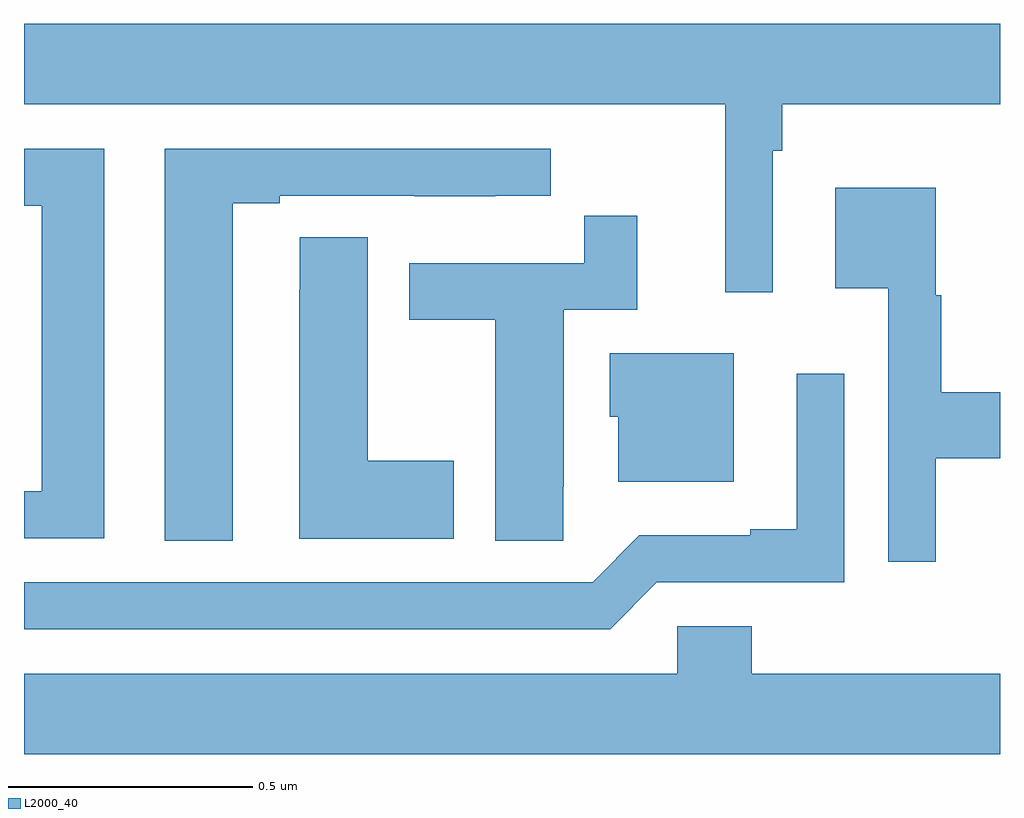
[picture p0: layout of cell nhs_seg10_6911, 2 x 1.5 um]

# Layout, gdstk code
import gdstk
lib = gdstk.Library(unit=1e-6, precision=1e-09)
def P(c, l, *ps):  # polygons
    for p in ps: c.add(gdstk.Polygon(p, *l))
L2000_40 = (2000, 40)

nhs_seg10_6911 = lib.new_cell('nhs_seg10_6911')
P(nhs_seg10_6911, L2000_40, [(198.534,1298.888),(198.554,1298.888),(198.554,1298.984),(199,1298.984),(199,1299.148),(197,1299.148),(197,1298.984),(198.437,1298.984),(198.437,1298.598),(198.534,1298.598)],
  [(197.428,1298.781),(197.524,1298.781),(197.524,1298.796),(197.8,1298.796),(197.8,1298.795),(197.966,1298.795),(197.966,1298.796),(198.079,1298.796),(198.079,1298.892),(197.288,1298.892),(197.288,1298.089),(197.428,1298.089)],
  [(197.164,1298.892),(197,1298.892),(197,1298.776),(197.036,1298.776),(197.036,1298.19),(197,1298.19),(197,1298.094),(197.164,1298.094)],
  [(198.868,1298.258),(199,1298.258),(199,1298.393),(198.88,1298.393),(198.88,1298.592),(198.868,1298.592),(198.868,1298.812),(198.662,1298.812),(198.662,1298.606),(198.771,1298.606),(198.771,1298.046),(198.868,1298.046)],
  [(198.105,1298.2),(198.106,1298.2),(198.106,1298.562),(198.257,1298.562),(198.257,1298.755),(198.148,1298.755),(198.148,1298.658),(197.789,1298.658),(197.789,1298.542),(197.966,1298.542),(197.966,1298.089),(198.105,1298.089)],
  [(197.881,1298.253),(197.704,1298.253),(197.704,1298.711),(197.565,1298.711),(197.565,1298.603),(197.564,1298.603),(197.564,1298.093),(197.881,1298.093)],
  [(198.454,1298.473),(198.2,1298.473),(198.2,1298.343),(198.218,1298.343),(198.218,1298.21),(198.454,1298.21)],
  [(198.297,1298.004),(198.681,1298.004),(198.681,1298.431),(198.584,1298.431),(198.584,1298.113),(198.488,1298.113),(198.488,1298.1),(198.261,1298.1),(198.165,1298.004),(197,1298.004),(197,1297.908),(198.201,1297.908)],
  [(199,1297.816),(198.491,1297.816),(198.491,1297.914),(198.339,1297.914),(198.339,1297.816),(197,1297.816),(197,1297.652),(199,1297.652)])

lib.write_gds('nhs_seg10_6911.gds')
